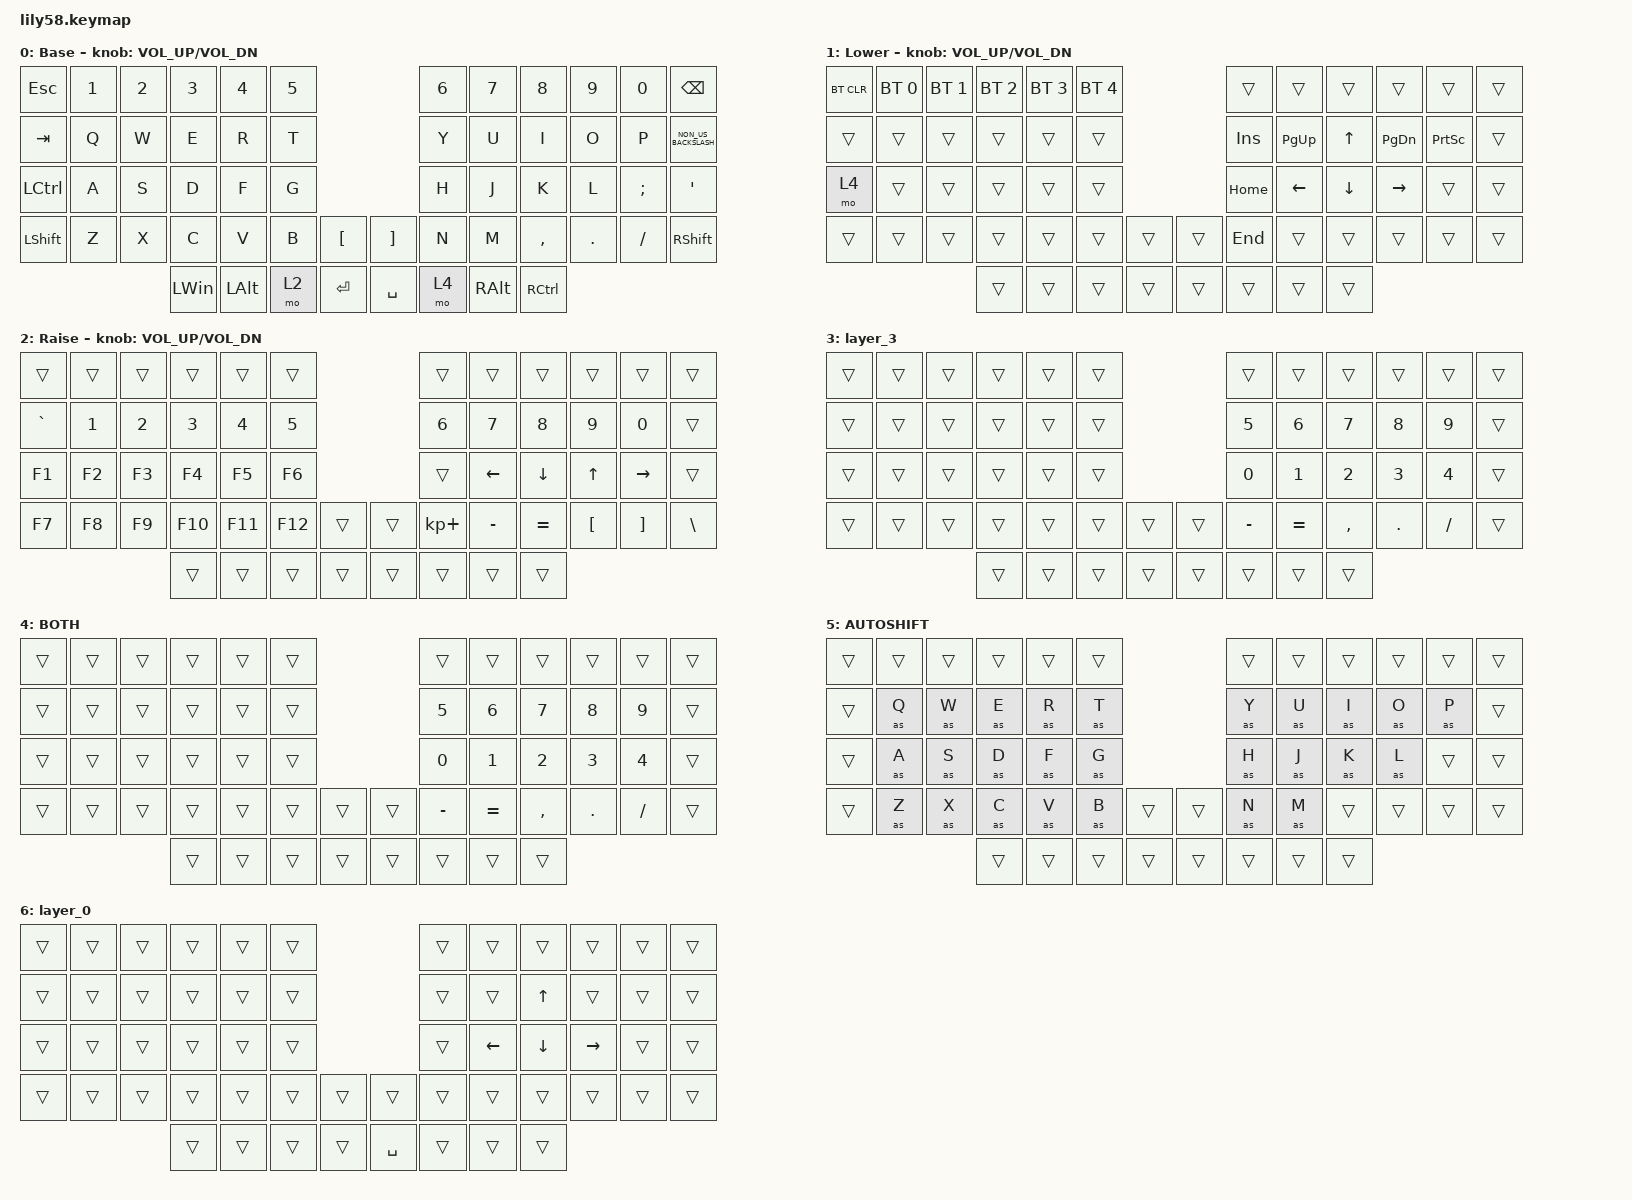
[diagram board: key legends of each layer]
/*
 * Copyright (c) 2020 The ZMK Contributors
 *
 * SPDX-License-Identifier: MIT
 */

#include <behaviors.dtsi>
#include <dt-bindings/zmk/bt.h>
#include <dt-bindings/zmk/keys.h>
#include <dt-bindings/zmk/keys.h>

/ {
    combos {
        compatible = "zmk,combos";

        BS {
            bindings = <&kp BACKSPACE>;
            key-positions = <44 45>;
        };

        CAPSWORD {
            bindings = <&caps_word>;
            key-positions = <42 43>;
        };
    };

    behaviors {
        as_ht: autoshift_hold_tap {
            compatible = "zmk,behavior-hold-tap";
            label = "AUTOSHIFT_HOLD_TAP";
            bindings = <&shift>, <&kp>;

            #binding-cells = <2>;
            tapping-term-ms = <190>;
        };

        hml: homewrow_mods_left {
            compatible = "zmk,behavior-hold-tap";
            label = "HOMEROW_MODS_LEFT_HAND";
            bindings = <&kp>, <&kp>;

            #binding-cells = <2>;
            tapping-term-ms = <500>;
            hold-trigger-key-positions = <6 7 8 9 10 23 22 11 21 20 19 30 43 18 31 32 33 34 49 35 48 46 47 57 56 55 45 44 54>;
        };

        hmr: homewrow_mods_right {
            compatible = "zmk,behavior-hold-tap";
            label = "HOMEROW_MODS_RIGHT_HAND";
            bindings = <&kp>, <&kp>;

            #binding-cells = <2>;
            tapping-term-ms = <500>;
            hold-trigger-key-positions = <0 1 2 4 3 5 0 1 2 3 4 5 12 13 14 15 16 17 24 25 26 27 28 29 36 37 38 39 40 41 50 51 52 53 42>;
        };

        TD_C: TD_C {
            compatible = "zmk,behavior-tap-dance";
            label = "TD_C";
            #binding-cells = <0>;
            bindings = <&kt C>, <&kt LCTRL>;
        };

        TD_A: TD_A {
            compatible = "zmk,behavior-tap-dance";
            label = "TD_A";
            #binding-cells = <0>;
            bindings = <&kp A>, <&kp LEFT_ALT>;
        };
    };

    macros {
        shift: new_macro {
            compatible = "zmk,behavior-macro-one-param";
            #binding-cells = <1>;
            bindings =
                <&macro_press>,
                <&kp LEFT_SHIFT>,
                <&macro_tap>,
                <&macro_param_1to1 &kp MACRO_PLACEHOLDER>,
                <&macro_release>,
                <&kp LEFT_SHIFT>;

            label = "NEW_MACRO";
        };

        as: as {
            compatible = "zmk,behavior-macro-one-param";
            #binding-cells = <1>;
            bindings =
                <&macro_press>,
                <&macro_param_1to1 &macro_param_1to2 &as_ht MACRO_PLACEHOLDER MACRO_PLACEHOLDER>,
                <&macro_pause_for_release>,
                <&macro_release>,
                <&macro_param_1to1 &macro_param_1to2 &as_ht MACRO_PLACEHOLDER MACRO_PLACEHOLDER>;

            label = "AS";
        };
    };

    keymap {
        compatible = "zmk,keymap";

        default_layer {
            // ------------------------------------------------------------------------------------------------------------
            // |  ESC  |  1  |  2  |  3   |  4   |  5   |                   |  6   |  7    |  8    |  9   |   0   |   `   |
            // |  TAB  |  Q  |  W  |  E   |  R   |  T   |                   |  Y   |  U    |  I    |  O   |   P   |   -   |
            // |  CTRL |  A  |  S  |  D   |  F   |  G   |                   |  H   |  J    |  K    |  L   |   ;   |   '   |
            // | SHIFT |  Z  |  X  |  C   |  V   |  B   |   "["  |  |  "]"  |  N   |  M    |  ,    |  .   |   /   | SHIFT |
            //                     | ALT  | GUI  | LOWER|  SPACE |  | ENTER | RAISE| BSPC  | GUI   |

            display-name = "Base";
            bindings = <
&kp ESC    &kp N1  &kp N2  &kp N3        &kp N4        &kp N5                                         &kp N6  &kp N7         &kp N8     &kp N9   &kp N0         &kp BACKSPACE
&kp TAB    &kp Q   &kp W   &kp E         &kp R         &kp T                                          &kp Y   &kp U          &kp I      &kp O    &kp P          &kp NON_US_BACKSLASH
&kp LCTRL  &kp A   &kp S   &kp D         &kp F         &kp G                                          &kp H   &kp J          &kp K      &kp L    &kp SEMICOLON  &kp SQT
&kp LSHFT  &kp Z   &kp X   &kp C         &kp V         &kp B   &kp LEFT_BRACKET    &kp RIGHT_BRACKET  &kp N   &kp M          &kp COMMA  &kp DOT  &kp FSLH       &kp RSHFT
                           &kp LEFT_WIN  &kp LEFT_ALT  &mo 2   &kp ENTER           &kp SPACE          &mo 4   &kp RIGHT_ALT  &kp RCTRL
            >;

            sensor-bindings = <&inc_dec_kp C_VOL_UP C_VOL_DN>;
        };

        lower_layer {
            // ------------------------------------------------------------------------------------------------------------
            // | BTCLR | BT1 | BT2 |  BT3 |  BT4 |  BT5 |                   |      |       |       |      |       |       |
            // |  F1   |  F2 |  F3 |  F4  |  F5  |  F6  |                   |  F7  |  F8   |  F9   |  F10 |  F11  |  F12  |
            // |   `   |  !  |  @  |  #   |  $   |  %   |                   |  ^   |  &    |  *    |  (   |   )   |   ~   |
            // |       |     |     |      |      |      |        |  |       |      |  _    |  +    |  {   |   }   |  "|"  |
            //                     |      |      |      |        |  |       |      |       |       |

            display-name = "Lower";
            bindings = <
&bt BT_CLR  &bt BT_SEL 0  &bt BT_SEL 1  &bt BT_SEL 2  &bt BT_SEL 3  &bt BT_SEL 4                    &trans      &trans       &trans        &trans         &trans           &trans
&trans      &trans        &trans        &trans        &trans        &trans                          &kp INSERT  &kp PAGE_UP  &kp UP_ARROW  &kp PAGE_DOWN  &kp PRINTSCREEN  &trans
&mo 4       &trans        &trans        &trans        &trans        &trans                          &kp HOME    &kp LEFT     &kp DOWN      &kp RIGHT      &trans           &trans
&trans      &trans        &trans        &trans        &trans        &trans        &trans    &trans  &kp END     &trans       &trans        &trans         &trans           &trans
                                        &trans        &trans        &trans        &trans    &trans  &trans      &trans       &trans
            >;

            sensor-bindings = <&inc_dec_kp C_VOL_UP C_VOL_DN>;
        };

        raise_layer {
            // ------------------------------------------------------------------------------------------------------------
            // |       |     |     |      |      |      |                   |      |       |       |      |       |       |
            // |   `   |  1  |  2  |  3   |  4   |  5   |                   |  6   |   7   |   8   |  9   |   0   |       |
            // |   F1  |  F2 |  F3 |  F4  |  F5  |  F6  |                   |      |   <-  |   v   |  ^   |  ->   |       |
            // |   F7  |  F8 |  F9 |  F10 |  F11 |  F12 |        |  |       |  +   |   -   |   =   |  [   |   ]   |   \   |
            //                     |      |      |      |        |  |       |      |       |       |

            display-name = "Raise";
            bindings = <
&trans     &trans  &trans  &trans   &trans   &trans                     &trans       &trans     &trans     &trans    &trans     &trans
&kp GRAVE  &kp N1  &kp N2  &kp N3   &kp N4   &kp N5                     &kp N6       &kp N7     &kp N8     &kp N9    &kp N0     &trans
&kp F1     &kp F2  &kp F3  &kp F4   &kp F5   &kp F6                     &trans       &kp LEFT   &kp DOWN   &kp UP    &kp RIGHT  &trans
&kp F7     &kp F8  &kp F9  &kp F10  &kp F11  &kp F12  &trans    &trans  &kp KP_PLUS  &kp MINUS  &kp EQUAL  &kp LBKT  &kp RBKT   &kp BSLH
                           &trans   &trans   &trans   &trans    &trans  &trans       &trans     &trans
            >;

            sensor-bindings = <&inc_dec_kp C_VOL_UP C_VOL_DN>;
        };

        layer_3 {
            bindings = <
&trans  &trans  &trans  &trans  &trans  &trans                    &trans        &trans        &trans        &trans        &trans        &trans
&trans  &trans  &trans  &trans  &trans  &trans                    &kp NUMBER_5  &kp NUMBER_6  &kp NUMBER_7  &kp N8        &kp NUMBER_9  &trans
&trans  &trans  &trans  &trans  &trans  &trans                    &kp NUMBER_0  &kp NUMBER_1  &kp NUMBER_2  &kp NUMBER_3  &kp NUMBER_4  &trans
&trans  &trans  &trans  &trans  &trans  &trans  &trans    &trans  &kp MINUS     &kp EQUAL     &kp COMMA     &kp PERIOD    &kp SLASH     &trans
                        &trans  &trans  &trans  &trans    &trans  &trans        &trans        &trans
            >;
        };

        BOTH {
            bindings = <
&trans  &trans  &trans  &trans  &trans  &trans                    &trans     &trans        &trans        &trans        &trans        &trans
&trans  &trans  &trans  &trans  &trans  &trans                    &kp N5     &kp NUMBER_6  &kp N7        &kp N8        &kp N9        &trans
&trans  &trans  &trans  &trans  &trans  &trans                    &kp N0     &kp NUMBER_1  &kp NUMBER_2  &kp NUMBER_3  &kp NUMBER_4  &trans
&trans  &trans  &trans  &trans  &trans  &trans  &trans    &trans  &kp MINUS  &kp EQUAL     &kp COMMA     &kp PERIOD    &kp SLASH     &trans
                        &trans  &trans  &trans  &trans    &trans  &trans     &trans        &trans
            >;
        };

        AUTOSHIFT {
            bindings = <
&trans  &trans  &trans  &trans  &trans  &trans                    &trans  &trans  &trans  &trans  &trans  &trans
&trans  &as Q   &as W   &as E   &as R   &as T                     &as Y   &as U   &as I   &as O   &as P   &trans
&trans  &as A   &as S   &as D   &as F   &as G                     &as H   &as J   &as K   &as L   &trans  &trans
&trans  &as Z   &as X   &as C   &as V   &as B   &trans    &trans  &as N   &as M   &trans  &trans  &trans  &trans
                        &trans  &trans  &trans  &trans    &trans  &trans  &trans  &trans
            >;
        };

        layer_0 {
            bindings = <
&trans  &trans  &trans  &trans  &trans  &trans                       &trans  &trans    &trans        &trans     &trans  &trans
&trans  &trans  &trans  &trans  &trans  &trans                       &trans  &trans    &kp UP_ARROW  &trans     &trans  &trans
&trans  &trans  &trans  &trans  &trans  &trans                       &trans  &kp LEFT  &kp DOWN      &kp RIGHT  &trans  &trans
&trans  &trans  &trans  &trans  &trans  &trans  &trans    &trans     &trans  &trans    &trans        &trans     &trans  &trans
                        &trans  &trans  &trans  &trans    &kp SPACE  &trans  &trans    &trans
            >;
        };
    };

    conditional_layers {
        compatible = "zmk,conditional-layers";

        BOTH {
            if-layers = <2 4>;
            then-layer = <4>;
        };
    };
};
